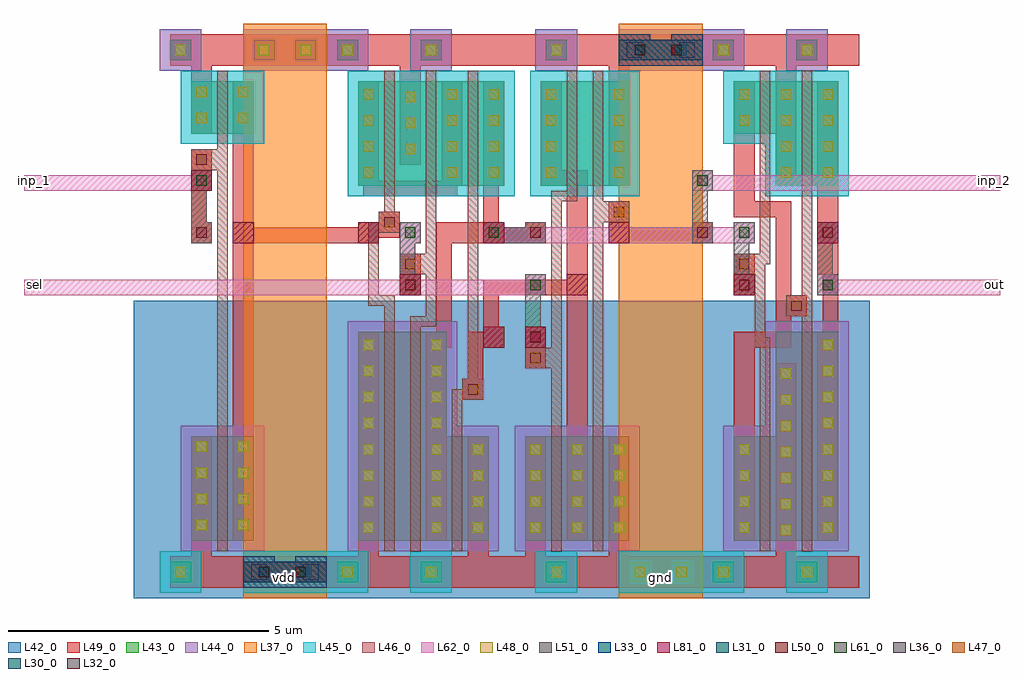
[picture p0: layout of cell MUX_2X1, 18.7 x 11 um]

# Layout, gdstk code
from math import pi, radians
import gdstk
lib = gdstk.Library(unit=1e-6, precision=1e-09)
def R(c, l, rs):  # rectangles x0, y0, x1, y1
    for r in rs: c.add(gdstk.rectangle(r[:2], r[2:], *l))
def A(c, l, x, y, w, h, nx, ny, dx, dy):  # array of equal rectangles
    R(c, l, [(x+i*dx, y+j*dy, x+i*dx+w, y+j*dy+h) for i in range(nx) for j in range(ny)])
L30_0 = (30, 0)
L31_0 = (31, 0)
L32_0 = (32, 0)
L33_0 = (33, 0)
L36_0 = (36, 0)
L37_0 = (37, 0)
L42_0 = (42, 0)
L43_0 = (43, 0)
L44_0 = (44, 0)
L45_0 = (45, 0)
L46_0 = (46, 0)
L47_0 = (47, 0)
L48_0 = (48, 0)
L49_0 = (49, 0)
L50_0 = (50, 0)
L51_0 = (51, 0)
L61_0 = (61, 0)
L62_0 = (62, 0)
L81_0 = (81, 0)

invx1 = lib.new_cell('INVX1')
R(invx1, L42_0, [(-0.9,4.8,2.6,10.5)])
R(invx1, L43_0, [(-0.2,-0.2,0.2,0.2), (0.2,0.6,1.4,1.6), (0.2,7.4,1.4,9.4), (-0.2,9.8,0.2,10.2)])
R(invx1, L44_0, [(-0.4,-0.4,0.4,0.4), (0,7.2,1.6,9.6)])
R(invx1, L45_0, [(0,0.4,1.6,1.8), (-0.4,9.6,0.4,10.4)])
R(invx1, L46_0, [(0.7,0.4,0.9,1.9), (0.2,1.9,0.9,2.3), (0.7,2.3,0.9,9.6)])
R(invx1, L47_0, [(0.3,2,0.5,2.2)])
A(invx1, L48_0, 0.3, 7.5, 0.2, 0.2, 1, 4, 0, 0.5)
A(invx1, L48_0, 1.1, 7.5, 0.2, 0.2, 1, 4, 0, 0.5)
R(invx1, L48_0, [(-0.1,-0.1,0.1,0.1), (0.3,0.7,0.5,0.9), (1.1,0.7,1.3,0.9), (0.3,1.2,0.5,1.4), (1.1,1.2,1.3,1.4), (-0.1,9.9,0.1,10.1)])
R(invx1, L49_0, [(-0.2,-0.3,1.8,0.3), (0.2,0.3,0.6,1.6), (1,0.6,1.4,9.4), (0.2,1.9,0.6,2.7), (0.2,7.4,0.6,9.7), (-0.2,9.7,1.8,10.3)])
R(invx1, L81_0, [(0.2,2.3,0.6,2.7), (1,3.3,1.4,3.7)])
invx1.add(gdstk.Label('A', (0.4,2.5), layer=109, texttype=0))
invx1.add(gdstk.Label('Y', (1.2,3.5), layer=109, texttype=0))
invx1.add(gdstk.Label('vdd', (0.4,10), layer=109, texttype=0))
invx1.add(gdstk.Label('gnd', (0.4,0), layer=109, texttype=0))

fill = lib.new_cell('FILL')
R(fill, L42_0, [(-0.8,4.8,1.6,10.5)])
R(fill, L43_0, [(-0.2,-0.2,0.2,0.2), (0.6,-0.2,1,0.2), (-0.2,9.8,0.2,10.2), (0.6,9.8,1,10.2)])
R(fill, L44_0, [(-0.4,-0.4,1.2,0.4)])
R(fill, L45_0, [(-0.4,9.6,1.2,10.4)])
R(fill, L48_0, [(-0.1,-0.1,0.1,0.1), (0.7,-0.1,0.9,0.1), (-0.1,9.9,0.1,10.1), (0.7,9.9,0.9,10.1)])
R(fill, L49_0, [(-0.2,-0.3,1,0.3), (-0.2,9.7,1,10.3)])
fill.add(gdstk.Label('vdd', (0.4,10), layer=109, texttype=0))
fill.add(gdstk.Label('gnd', (0.4,0), layer=109, texttype=0))

oai21x1 = lib.new_cell('OAI21X1')
R(oai21x1, L42_0, [(-0.8,4.8,3.4,10.5)])
R(oai21x1, L43_0, [(-0.2,-0.2,0.2,0.2), (1.4,-0.2,1.8,0.2), (0.2,0.6,3,2.6), (0.2,5.4,1.9,7.4), (0.2,7.4,2.7,9.4), (-0.2,9.8,0.2,10.2), (1.4,9.8,1.8,10.2)])
R(oai21x1, L44_0, [(-0.4,-0.4,0.4,0.4), (1.2,-0.4,2,0.4), (0,5.2,2.1,7.2), (0,7.2,2.9,9.6)])
R(oai21x1, L45_0, [(0,0.4,3.2,2.8), (-0.4,9.6,0.4,10.4), (1.2,9.6,2,10.4)])
R(oai21x1, L46_0, [(0.7,0.4,0.9,3.1), (1.5,0.4,1.7,3.9), (2.3,0.4,2.5,6.3), (0.6,3.1,1,3.3), (0.4,3.3,1,3.5), (0.4,3.5,0.6,4.7), (1,3.9,1.7,4.3), (1.5,4.3,1.7,5.1), (0.4,4.7,0.9,4.9), (0.7,4.9,0.9,9.6), (1.2,5.1,1.7,5.3), (1.2,5.3,1.4,9.6), (2.2,6.3,2.6,6.5), (2,6.5,2.6,6.7), (2,6.7,2.2,9.6)])
R(oai21x1, L47_0, [(0.7,3.2,0.9,3.4), (1.1,4,1.3,4.2), (2.3,6.4,2.5,6.6)])
A(oai21x1, L48_0, 0.3, 0.75, 0.2, 0.2, 1, 4, 0, 0.5)
A(oai21x1, L48_0, 1.9, 0.75, 0.2, 0.2, 1, 4, 0, 0.5)
A(oai21x1, L48_0, 2.7, 0.75, 0.2, 0.2, 1, 4, 0, 0.5)
A(oai21x1, L48_0, 1.1, 0.8, 0.2, 0.2, 1, 3, 0, 0.5)
A(oai21x1, L48_0, 0.3, 5.55, 0.2, 0.2, 1, 8, 0, 0.5)
A(oai21x1, L48_0, 1.6, 5.55, 0.2, 0.2, 1, 8, 0, 0.5)
A(oai21x1, L48_0, 2.4, 7.55, 0.2, 0.2, 1, 4, 0, 0.5)
R(oai21x1, L48_0, [(-0.1,-0.1,0.1,0.1), (1.5,-0.1,1.7,0.1), (-0.1,9.9,0.1,10.1), (1.5,9.9,1.7,10.1)])
R(oai21x1, L49_0, [(-0.2,-0.3,3.4,0.3), (1,0.3,1.4,2.2), (0.2,0.6,0.6,2.5), (1.8,0.6,2.2,2.5), (2.6,0.6,3,2.6), (0.2,2.5,2.2,2.6), (0.3,2.6,2.1,2.8), (2.6,2.6,2.9,3.3), (0.6,3.1,1,3.3), (0.2,3.3,1,3.6), (1.7,3.3,3,3.7), (0.2,3.6,0.6,3.7), (1.7,3.7,2,5.4), (1,3.9,1.4,4.7), (2.6,5.3,3,5.4), (0.2,5.4,0.6,9.7), (1.5,5.4,2,5.7), (2.3,5.4,3,5.7), (1.5,5.7,1.9,9.4), (2.3,5.7,2.6,6.3), (2.2,6.3,2.6,6.7), (2.3,7.4,2.7,9.7), (-0.2,9.7,3.4,10.3)])
R(oai21x1, L81_0, [(0.2,3.3,0.6,3.7), (2.6,3.3,3,3.7), (1,4.3,1.4,4.7), (2.6,5.3,3,5.7)])
oai21x1.add(gdstk.Label('gnd', (0.4,0), layer=109, texttype=0))
oai21x1.add(gdstk.Label('vdd', (0.4,10), layer=109, texttype=0))
oai21x1.add(gdstk.Label('A', (0.4,3.5), layer=109, texttype=0))
oai21x1.add(gdstk.Label('B', (1.2,4.5), layer=109, texttype=0))
oai21x1.add(gdstk.Label('Y', (2.8,3.5), layer=109, texttype=0))
oai21x1.add(gdstk.Label('C', (2.8,5.5), layer=109, texttype=0))

nand2x1 = lib.new_cell('NAND2X1')
R(nand2x1, L42_0, [(-0.8,4.8,3.2,10.5)])
R(nand2x1, L43_0, [(-0.2,-0.2,0.2,0.2), (1.4,-0.2,1.8,0.2), (0.2,0.6,1.9,2.6), (0.2,7.4,2.2,9.4), (-0.2,9.8,0.2,10.2), (1.4,9.8,1.8,10.2)])
R(nand2x1, L44_0, [(-0.4,-0.4,0.4,0.4), (1.2,-0.4,2,0.4), (0,7.2,2.4,9.6)])
R(nand2x1, L45_0, [(0,0.4,2.1,2.8), (-0.4,9.6,0.4,10.4), (1.2,9.6,2,10.4)])
R(nand2x1, L46_0, [(0.7,0.4,0.9,2.9), (1.2,0.4,1.4,2.7), (1.2,2.7,1.7,2.9), (0.2,2.9,0.9,3.3), (1.5,2.9,1.7,5.7), (0.7,3.3,0.9,9.6), (1.5,5.7,2.2,6.1), (1.5,6.1,1.7,9.6)])
R(nand2x1, L47_0, [(0.3,3,0.5,3.2), (1.9,5.8,2.1,6)])
A(nand2x1, L48_0, 0.3, 0.75, 0.2, 0.2, 1, 4, 0, 0.5)
A(nand2x1, L48_0, 1.6, 0.75, 0.2, 0.2, 1, 4, 0, 0.5)
A(nand2x1, L48_0, 0.3, 7.55, 0.2, 0.2, 3, 4, 0.8, 0.5)
R(nand2x1, L48_0, [(-0.1,-0.1,0.1,0.1), (1.5,-0.1,1.7,0.1), (-0.1,9.9,0.1,10.1), (1.5,9.9,1.7,10.1)])
R(nand2x1, L49_0, [(-0.2,-0.3,2.6,0.3), (0.2,0.3,0.6,2.6), (1.5,0.6,1.9,2.3), (1,2.3,1.9,2.6), (1,2.6,1.4,9.4), (0.2,2.9,0.6,3.7), (1.8,5.3,2.2,6.1), (0.2,7.4,0.6,9.7), (1.8,7.4,2.2,9.7), (-0.2,9.7,2.6,10.3)])
R(nand2x1, L81_0, [(0.2,3.3,0.6,3.7), (1,4.3,1.4,4.7), (1.8,5.3,2.2,5.7)])
nand2x1.add(gdstk.Label('vdd', (0.4,10), layer=109, texttype=0))
nand2x1.add(gdstk.Label('Y', (1.2,4.5), layer=109, texttype=0))
nand2x1.add(gdstk.Label('gnd', (0.4,0), layer=109, texttype=0))
nand2x1.add(gdstk.Label('A', (0.4,3.5), layer=109, texttype=0))
nand2x1.add(gdstk.Label('B', (2,5.5), layer=109, texttype=0))

bufx2 = lib.new_cell('BUFX2')
R(bufx2, L42_0, [(-0.5,4.8,2.8,10.5)])
R(bufx2, L43_0, [(-0.2,-0.2,0.2,0.2), (1.4,-0.2,1.8,0.2), (0.2,0.6,2.2,1.6), (1,1.6,2.2,2.6), (1,5.4,2.2,7.4), (0.2,7.4,2.2,9.4), (-0.2,9.8,0.2,10.2), (1.4,9.8,1.8,10.2)])
R(bufx2, L44_0, [(-0.4,-0.4,0.4,0.4), (1.2,-0.4,2,0.4), (0.8,5.2,2.4,7.2), (0,7.2,2.4,9.6)])
R(bufx2, L45_0, [(0,0.4,2.4,1.8), (0.8,1.8,2.4,2.8), (-0.4,9.6,0.4,10.4), (1.2,9.6,2,10.4)])
R(bufx2, L46_0, [(0.7,0.4,0.9,3.9), (1.5,0.4,1.7,4.7), (0.2,3.9,0.9,4.1), (0.2,4.1,0.8,4.3), (0.6,4.3,0.8,5.5), (1.2,4.7,1.7,5.1), (1.5,5.1,1.7,9.6), (0.6,5.5,0.9,5.7), (0.7,5.7,0.9,9.6)])
R(bufx2, L47_0, [(0.3,4,0.5,4.2), (1.3,4.8,1.5,5)])
A(bufx2, L48_0, 0.3, 0.75, 0.2, 0.2, 3, 2, 0.8, 0.5)
A(bufx2, L48_0, 1.9, 5.55, 0.2, 0.2, 1, 8, 0, 0.5)
A(bufx2, L48_0, 1.1, 6.1, 0.2, 0.2, 1, 7, 0, 0.5)
A(bufx2, L48_0, 0.3, 7.55, 0.2, 0.2, 1, 4, 0, 0.5)
R(bufx2, L48_0, [(-0.1,-0.1,0.1,0.1), (1.5,-0.1,1.7,0.1), (1.1,1.75,1.3,1.95), (1.9,1.75,2.1,1.95), (1.1,2.25,1.3,2.45), (1.9,2.25,2.1,2.45), (-0.1,9.9,0.1,10.1), (1.5,9.9,1.7,10.1)])
R(bufx2, L49_0, [(-0.2,-0.3,2.6,0.3), (1,0.3,1.4,2.6), (0.2,0.6,0.6,2.9), (1.8,0.6,2.2,4.3), (0.2,2.9,1.3,3.2), (1,3.2,1.3,4.7), (0.2,3.9,0.6,4.7), (1.9,4.3,2.2,5.4), (1,4.7,1.6,5.1), (1,5.1,1.3,5.4), (0.2,5.4,1.3,5.7), (1.8,5.4,2.2,9.4), (0.2,5.7,0.6,9.4), (1,6,1.4,9.7), (-0.2,9.7,2.6,10.3)])
R(bufx2, L81_0, [(1.8,3.3,2.2,3.7), (0.2,4.3,0.6,4.7)])
bufx2.add(gdstk.Label('vdd', (0.4,10), layer=109, texttype=0))
bufx2.add(gdstk.Label('gnd', (0.4,0), layer=109, texttype=0))
bufx2.add(gdstk.Label('A', (0.4,4.5), layer=109, texttype=0))
bufx2.add(gdstk.Label('Y', (2,3.5), layer=109, texttype=0))

mux_2x1 = lib.new_cell('MUX_2X1')
R(mux_2x1, L30_0, [(1.9,0.4,2.1,0.6), (2.7,0.4,2.9,0.6), (9.1,10.4,9.3,10.6), (9.9,10.4,10.1,10.6)])
R(mux_2x1, L31_0, [(1.6,0.3,3.2,0.7), (8.8,10.3,10.4,10.7)])
R(mux_2x1, L32_0, [(1.9,0.4,2.1,0.6), (2.6,0.4,2.8,0.6), (9.1,10.4,9.3,10.6), (9.8,10.4,10,10.6)])
R(mux_2x1, L33_0, [(1.6,0.2,3.2,0.7), (1.6,0.7,2.2,0.8), (2.6,0.7,3.2,0.8), (8.8,10.2,10.4,10.7), (8.8,10.7,9.4,10.8), (9.8,10.7,10.4,10.8)])
R(mux_2x1, L36_0, [(1.75,0.35,2.05,0.65), (2.75,0.35,3.05,0.65), (8.95,10.35,9.25,10.65), (9.95,10.35,10.25,10.65)])
R(mux_2x1, L37_0, [(1.6,0,3.2,11), (8.8,0,10.4,11)])
R(mux_2x1, L49_0, [(1.6,0.3,3.2,0.7), (6.2,4.8,6.5,5.8), (7,4.8,7.4,5.2), (4.6,5.8,5,6.2), (6.2,5.8,8.1,6.1), (11,5.8,11.4,6.2), (0.6,6.8,1,7.2), (1.4,6.8,4.1,7.1), (6.2,6.8,7.4,7.1), (8.6,6.8,10.6,7.1), (12.6,6.8,13,7.2), (7,7.1,7.4,7.2), (10.2,7.1,10.6,7.2), (0.6,7.2,0.9,8.1), (8.8,10.3,10.4,10.7)])
R(mux_2x1, L50_0, [(1.9,0.4,2.1,0.6), (2.6,0.4,2.8,0.6), (7.1,4.9,7.3,5.1), (4.7,5.9,4.9,6.1), (11.1,5.9,11.3,6.1), (0.7,6.9,0.9,7.1), (7.1,6.9,7.3,7.1), (10.3,6.9,10.5,7.1), (12.7,6.9,12.9,7.1), (9.1,10.4,9.3,10.6), (9.8,10.4,10,10.6)])
R(mux_2x1, L51_0, [(1.6,0.3,3.2,0.7), (7,4.8,7.4,5.2), (7,5.2,7.3,5.8), (4.6,5.8,5,6.2), (7,5.8,7.4,6.2), (11,5.8,11.4,6.2), (12.6,5.8,13,6.2), (4.6,6.2,4.9,6.8), (11,6.2,11.3,6.8), (12.6,6.2,12.9,6.8), (0.6,6.8,1,7.2), (4.6,6.8,5,7.2), (6.2,6.8,7.4,7.1), (10.2,6.8,10.6,7.2), (11,6.8,11.4,7.2), (12.6,6.8,13,7.2), (6.2,7.1,6.6,7.2), (7,7.1,7.4,7.2), (0.6,7.2,0.9,7.8), (10.2,7.2,10.5,7.8), (0.6,7.8,1,8.2), (10.2,7.8,10.6,8.2), (8.8,10.3,10.4,10.7)])
R(mux_2x1, L61_0, [(1.9,0.4,2.1,0.6), (2.6,0.4,2.8,0.6), (7.1,5.9,7.3,6.1), (12.7,5.9,12.9,6.1), (4.7,6.9,4.9,7.1), (6.3,6.9,6.5,7.1), (11.1,6.9,11.3,7.1), (0.7,7.9,0.9,8.1), (10.3,7.9,10.5,8.1), (9.1,10.4,9.3,10.6), (9.8,10.4,10,10.6)])
R(mux_2x1, L62_0, [(1.6,0.3,3.2,0.7), (-2.6,5.8,7.4,6.1), (12.6,5.8,16.1,6.1), (4.6,6.1,4.9,6.8), (7,6.1,7.4,6.2), (12.6,6.1,13,6.2), (4.6,6.8,5,7.2), (6.2,6.8,11.4,7.1), (6.2,7.1,6.6,7.2), (11,7.1,11.4,7.2), (-2.6,7.8,1,8.1), (10.2,7.8,16.1,8.1), (0.6,8.1,1,8.2), (10.2,8.1,10.6,8.2), (8.8,10.3,10.4,10.7)])
mux_2x1.add(gdstk.Reference(invx1, (0.4,10.5), x_reflection=True))
mux_2x1.add(gdstk.Reference(fill, (2,10.5), x_reflection=True))
mux_2x1.add(gdstk.Reference(fill, (2.8,10.5), x_reflection=True))
mux_2x1.add(gdstk.Reference(oai21x1, (3.6,10.5), x_reflection=True))
mux_2x1.add(gdstk.Reference(nand2x1, (9.2,10.5), rotation=pi))
mux_2x1.add(gdstk.Reference(fill, (9.2,10.5), x_reflection=True))
mux_2x1.add(gdstk.Reference(fill, (10,10.5), x_reflection=True))
mux_2x1.add(gdstk.Reference(bufx2, (10.8,10.5), x_reflection=True))
mux_2x1.add(gdstk.Label('vdd', (2.4,0.4), layer=37, texttype=0))
mux_2x1.add(gdstk.Label('gnd', (9.6,0.4), layer=37, texttype=0))
mux_2x1.add(gdstk.Label('inp_1', (-2.4,8), layer=62, texttype=0))
mux_2x1.add(gdstk.Label('inp_2', (16,8), layer=62, texttype=0))
mux_2x1.add(gdstk.Label('sel', (-2.4,6), layer=62, texttype=0))
mux_2x1.add(gdstk.Label('out', (16,6), layer=62, texttype=0))

lib.write_gds('MUX_2X1.gds')
